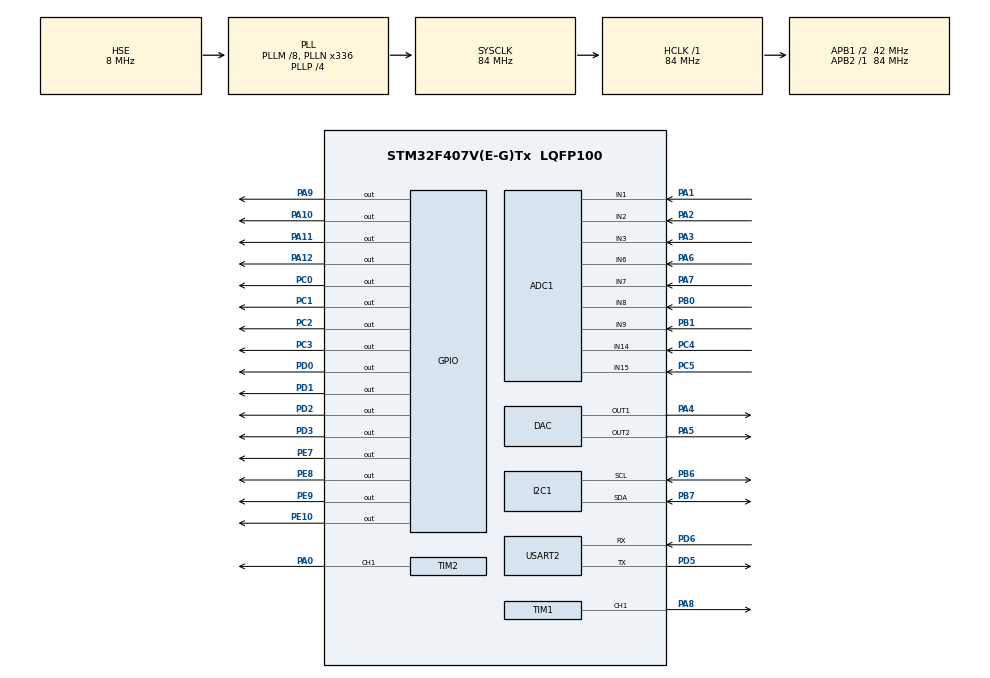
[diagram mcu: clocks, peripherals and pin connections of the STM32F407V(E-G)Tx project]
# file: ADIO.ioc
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ADC1.Channel-10\#ChannelRegularConversion=ADC_CHANNEL_2
ADC1.Channel-7\#ChannelRegularConversion=ADC_CHANNEL_1
ADC1.Channel-8\#ChannelInjectedConversion=ADC_CHANNEL_2
ADC1.Channel-9\#ChannelInjectedConversion=ADC_CHANNEL_2
ADC1.ContinuousConvMode=ENABLE
ADC1.DMAContinuousRequests=ENABLE
ADC1.EOCSelection=ADC_EOC_SEQ_CONV
ADC1.EnableAnalogWatchDog=true
ADC1.ITMode=ENABLE
ADC1.InjNumberOfConversion=2
ADC1.InjectedOffset-8\#ChannelInjectedConversion=0
ADC1.InjectedOffset-9\#ChannelInjectedConversion=0
ADC1.InjectedRank-8\#ChannelInjectedConversion=1
ADC1.InjectedRank-9\#ChannelInjectedConversion=2
ADC1.NbrOfConversion=2
ADC1.NbrOfConversionFlag=1
ADC1.Rank-10\#ChannelRegularConversion=2
ADC1.Rank-7\#ChannelRegularConversion=1
ADC1.SamplingTime-10\#ChannelRegularConversion=ADC_SAMPLETIME_480CYCLES
ADC1.SamplingTime-7\#ChannelRegularConversion=ADC_SAMPLETIME_480CYCLES
ADC1.SamplingTime-8\#ChannelInjectedConversion=ADC_SAMPLETIME_3CYCLES
ADC1.SamplingTime-9\#ChannelInjectedConversion=ADC_SAMPLETIME_3CYCLES
ADC1.WatchdogChannel=ADC_CHANNEL_1
ADC1.master=1
Dma.ADC1.0.Direction=DMA_PERIPH_TO_MEMORY
Dma.ADC1.0.FIFOMode=DMA_FIFOMODE_DISABLE
Dma.ADC1.0.Instance=DMA2_Stream0
Dma.ADC1.0.MemDataAlignment=DMA_MDATAALIGN_HALFWORD
Dma.ADC1.0.MemInc=DMA_MINC_ENABLE
Dma.ADC1.0.Mode=DMA_CIRCULAR
Dma.ADC1.0.PeriphDataAlignment=DMA_PDATAALIGN_HALFWORD
Dma.ADC1.0.PeriphInc=DMA_PINC_DISABLE
Dma.ADC1.0.Priority=DMA_PRIORITY_LOW
Dma.Request0=ADC1
Mcu.Family=STM32F4
Mcu.Name=STM32F407V(E-G)Tx
Mcu.Package=LQFP100
NVIC.ADC_IRQn=true\:0\:0\:false\:false\:true\:true\:true\:true
NVIC.DMA2_Stream0_IRQn=true\:0\:0\:false\:false\:true\:false\:true\:true
NVIC.PriorityGroup=NVIC_PRIORITYGROUP_0
NVIC.USART2_IRQn=true\:0\:0\:false\:false\:true\:true\:true\:true
PA0-WKUP.Signal=S_TIM2_CH1_ETR
PA1.Signal=ADCx_IN1
PA10.Signal=GPIO_Output
PA11.Signal=GPIO_Output
PA12.Signal=GPIO_Output
PA13.Mode=Serial_Wire
PA13.Signal=SYS_JTMS-SWDIO
PA14.Mode=Serial_Wire
PA14.Signal=SYS_JTCK-SWCLK
PA2.Signal=ADCx_IN2
PA3.Signal=ADCx_IN3
PA4.Signal=COMP_DAC1_group
PA5.Signal=COMP_DAC2_group
PA6.Signal=ADCx_IN6
PA7.Signal=ADCx_IN7
PA8.Signal=S_TIM1_CH1
PA9.Signal=GPIO_Output
PB0.Signal=ADCx_IN8
PB1.Signal=ADCx_IN9
PB6.Mode=I2C
PB6.Signal=I2C1_SCL
PB7.Mode=I2C
PB7.Signal=I2C1_SDA
PC0.Signal=GPIO_Output
PC1.Signal=GPIO_Output
PC2.Signal=GPIO_Output
PC3.Signal=GPIO_Output
PC4.Signal=ADCx_IN14
PC5.Signal=ADCx_IN15
PD0.Signal=GPIO_Output
PD1.Signal=GPIO_Output
PD2.Signal=GPIO_Output
PD3.Signal=GPIO_Output
PD5.Mode=Asynchronous
PD5.Signal=USART2_TX
PD6.Mode=Asynchronous
PD6.Signal=USART2_RX
PE10.Signal=GPIO_Output
PE7.Signal=GPIO_Output
PE8.Signal=GPIO_Output
PE9.Signal=GPIO_Output
PH0-OSC_IN.Mode=HSE-External-Oscillator
PH0-OSC_IN.Signal=RCC_OSC_IN
PH1-OSC_OUT.Mode=HSE-External-Oscillator
PH1-OSC_OUT.Signal=RCC_OSC_OUT
ProjectManager.HeapSize=0x200
ProjectManager.StackSize=0x400
ProjectManager.TargetToolchain=STM32CubeIDE
RCC.48MHZClocksFreq_Value=48000000
RCC.AHBFreq_Value=84000000
RCC.APB1CLKDivider=RCC_HCLK_DIV2
RCC.APB1Freq_Value=42000000
RCC.APB1TimFreq_Value=84000000
RCC.APB2Freq_Value=84000000
RCC.APB2TimFreq_Value=84000000
RCC.CortexFreq_Value=84000000
RCC.HCLKFreq_Value=84000000
RCC.HSE_VALUE=8000000
RCC.HSI_VALUE=16000000
RCC.LSE_VALUE=32768
RCC.PLLM=8
RCC.PLLN=336
RCC.PLLP=RCC_PLLP_DIV4
RCC.PLLQ=7
RCC.PLLSourceVirtual=RCC_PLLSOURCE_HSE
RCC.SYSCLKFreq_VALUE=84000000
RCC.SYSCLKSource=RCC_SYSCLKSOURCE_PLLCLK
RCC.VCOOutputFreq_Value=336000000
SH.ADCx_IN1.0=ADC1_IN1,IN1
SH.ADCx_IN14.0=ADC1_IN14,IN14
SH.ADCx_IN15.0=ADC1_IN15,IN15
SH.ADCx_IN2.0=ADC1_IN2,IN2
SH.ADCx_IN3.0=ADC1_IN3,IN3
SH.ADCx_IN6.0=ADC1_IN6,IN6
SH.ADCx_IN7.0=ADC1_IN7,IN7
SH.ADCx_IN8.0=ADC1_IN8,IN8
SH.ADCx_IN9.0=ADC1_IN9,IN9
SH.COMP_DAC1_group.0=DAC_OUT1,DAC_OUT1
SH.COMP_DAC2_group.0=DAC_OUT2,DAC_OUT2
SH.S_TIM1_CH1.0=TIM1_CH1,PWM Generation1 CH1
SH.S_TIM2_CH1_ETR.0=TIM2_CH1,PWM Generation1 CH1
TIM1.Channel-PWM\ Generation1\ CH1=TIM_CHANNEL_1
TIM1.Period=199
TIM1.Prescaler=69
TIM2.Channel-PWM\ Generation1\ CH1=TIM_CHANNEL_1
TIM2.Period=199
TIM2.Prescaler=69
USART2.VirtualMode=VM_ASYNC
VP_TIM1_VS_ClockSourceINT.Mode=Internal
VP_TIM2_VS_ClockSourceINT.Mode=Internal
board=STM32F407G-DISC1

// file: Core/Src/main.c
/* USER CODE BEGIN Header */
/**
  ******************************************************************************
  * @file           : main.c
  * @brief          : Main program body
  ******************************************************************************
  * @attention
  *
  * Copyright (c) 2025 STMicroelectronics.
  * All rights reserved.
  *
  * This software is licensed under terms that can be found in the LICENSE file
  * in the root directory of this software component.
  * If no LICENSE file comes with this software, it is provided AS-IS.
  *
  ******************************************************************************
  */
/* USER CODE END Header */
#include "main.h"

/* USER CODE BEGIN Includes */
#include <stdio.h>
#include "functions.h"
#include <string.h>
#include "uart_handler.h"
#include <math.h>
#include "i2ccomm.h"

/* USER CODE END Includes */

ADC_HandleTypeDef hadc1;
DMA_HandleTypeDef hdma_adc1;

DAC_HandleTypeDef hdac;

I2C_HandleTypeDef hi2c1;

TIM_HandleTypeDef htim1;
TIM_HandleTypeDef htim2;

UART_HandleTypeDef huart2;

/* USER CODE BEGIN PV */

// This is the one and only DEFINITION of the variable.
// It tells the compiler to allocate memory for it.
uint16_t volatile ADC_IN[9];
//float Max_PCurrent = 0 ;
// Application state variable
volatile uint8_t g_test_is_running = 1;

// Application data
#define NUM_PARAMETERS 24
float parameters[NUM_PARAMETERS] = {0.0f};

float Max_PCurrent_M1 = 0.0f;
//float Max_NCurrent_M1 = 0.0f;
float Voltage_M1      = 0.0f;
//float Max_PoCurrent_M1 = 0.0f;

float Max_PCurrent_M2 = 0.0f;
//float Max_NCurrent_M2 = 0.0f;
float Voltage_M2      = 0.0f;
//float Max_PoCurrent_M2 = 0.0f;

#define DATA_LOG_LENGTH 32

/* USER CODE END PV */

void SystemClock_Config(void);
static void MX_GPIO_Init(void);
static void MX_DMA_Init(void);
static void MX_ADC1_Init(void);
static void MX_TIM2_Init(void);
static void MX_USART2_UART_Init(void);
static void MX_I2C1_Init(void);
static void MX_TIM1_Init(void);
static void MX_DAC_Init(void);

int main(void)
{

  /* MCU Configuration--------------------------------------------------------*/

  /* Reset of all peripherals, Initializes the Flash interface and the Systick. */
  HAL_Init();

  /* Configure the system clock */
  SystemClock_Config();

  /* Initialize all configured peripherals */
  MX_GPIO_Init();
  MX_DMA_Init();
  MX_ADC1_Init();
  MX_TIM2_Init();
  MX_USART2_UART_Init();
  MX_I2C1_Init();
  MX_TIM1_Init();
  MX_DAC_Init();
  /* USER CODE BEGIN 2 */
  uart_handler_init(&huart2); // When regenerated this line of Code would always reset need to add
  HAL_ADC_Start_DMA(&hadc1, (uint32_t*)&ADC_IN, 9);
  HAL_TIM_PWM_Start(&htim2,TIM_CHANNEL_1);
  HAL_TIM_PWM_Start(&htim1,TIM_CHANNEL_1);
  I2C_Scan(&hi2c1);
  HAL_Delay(1000);

  if (I2C_Init(&hi2c1,P15) != HAL_OK)
  {
	  printf("Failed to Initialize the Motor1N \n");
  }
  printf("Initlization Successful of Motor1N \n");
  HAL_Delay(100);
//  if (I2C_Init(&hi2c1,Motor1P) != HAL_OK)
//  {
//	  printf("Failed to Initalize the Motor1P \n");
//  }
//  printf("Initlization Successfull of Motor1P \n");
//  HAL_Delay(100);
  if (I2C_Init(&hi2c1,N15) != HAL_OK)
  {
	  printf("Failed to Initalize the Motor2N \n");
  }
  printf("Initlization Successfull of Motor2N \n");
  HAL_Delay(100);
//  if (I2C_Init(&hi2c1,Motor2P) != HAL_OK)
//  {
//	  printf("Failed to Initalize the Motor2P \n");
//  }
//  printf("Initlization Successfull of Motor2P \n");
//  HAL_Delay(100);
  if (I2C_Init(&hi2c1,Pot1) != HAL_OK)
  {
	  printf("Failed to Initalize the Pot1 \n");
  }
  printf("Initlization Successfull of Pot1 \n");
  HAL_Delay(100);
  if (I2C_Init(&hi2c1,Pot2) != HAL_OK)
  {
	  printf("Failed to Initalize the Pot2 \n");
  }
  printf("Initlization Successfull of Pot2 \n");
  HAL_Delay(100);

  /* USER CODE END 2 */

  /* Infinite loop */
  while (1)
  {

    /* USER CODE BEGIN 3 */

	  printf("Testing the USB Communication \r\n");

//	  ModeControlADIOBoard(OFF);
//	  printf("IN MANUAL MODE NOW\r\n");
//
	  set_relay_combination(0);
	  printf("IN Combination 0 now \r\n");

	  set_relay_combination(1);
	  printf("In Combination 1 now \r\n");

	  set_relay_combination(2);
	  printf("IN Combination 2 now\r\n");

	  set_relay_combination(3);
	  printf("IN Combination 3 now\r\n");

	  set_relay_combination(4);
	  printf("IN Combination 4 now\r\n");

	  set_relay_combination(5);
	  printf("IN Combination 5 now\r\n");

	  set_relay_combination(6);
	  printf("IN Combination 6 now\r\n");

	  set_relay_combination(7);
	  printf("IN Combination 7 now\r\n");

	    //--------------------------------------------------------------------
	    // [SECTION 1] COMMAND HANDLING
	    //--------------------------------------------------------------------
	    // This section checks if a complete command has been received via UART.
	    // If a command is ready, it is processed to change the system's state.
//	    //--------------------------------------------------------------------
//	    if (uart_command_is_ready()) {
//	        // Retrieve the received command string from the UART buffer.
//	        const char* command = (const char*)uart_get_command_buffer();
//
//	        // Print a debug message indicating a command has been received.
//	        printf("DBG_MAIN: Flag detected.\r\n");
//	        fflush(stdout); // Force the print buffer to send immediately.
//
//	        // --- Compare the received command against known commands ---
//
//	        if (strcmp(command, "CMD:PERFORM_TEST") == 0) {
//	            printf("DBG_MAIN: Command for Start MATCHED!\r\n");
//	            fflush(stdout);
//	            // Set state to 0, which triggers the test sequence to run once.
//	            g_test_is_running = 0;
//	        }
//	        else if (strcmp(command, "CMD:STOP_TEST") == 0) {
//	            printf("DBG_MAIN: Command for Stop MATCHED!\r\n");
//	            fflush(stdout);
//	            // Set state to 1, which is the 'Idle' or 'Stopped' state.
//	            g_test_is_running = 1;
//	        }
//	        else if (strcmp(command, "CMD:CORNER1") == 0) {
//	            printf("DBG_MAIN: Command for Corner 1 (min, min) received.\r\n"); // Corrected log message
//	            fflush(stdout);
//	            // Set state to 2 to move motors to the MIN/MIN position.
//	            g_test_is_running = 2;
//	        }
//	        else if (strcmp(command, "CMD:CORNER2") == 0) {
//	            printf("DBG_MAIN: Command for Corner 2 (min, max) received.\r\n"); // Corrected log message
//	            fflush(stdout);
//	            // Set state to 3 to move motors to the MIN/MAX position.
//	            g_test_is_running = 3;
//	        }
//	        else if (strcmp(command, "CMD:CORNER3") == 0) {
//	            printf("DBG_MAIN: Command for Corner 3 (max, min) received.\r\n"); // Corrected log message
//	            fflush(stdout);
//	            // Set state to 4 to move motors to the MAX/MIN position.
//	            g_test_is_running = 4;
//	        }
//	        else if (strcmp(command, "CMD:CORNER4") == 0) {
//	            printf("DBG_MAIN: Command for Corner 4 (max, max) received.\r\n"); // Corrected log message
//	            fflush(stdout);
//	            // Set state to 5 to move motors to the MAX/MAX position.
//	            g_test_is_running = 5;
//	        }
//	        else {
//	            // If the command is not recognized, print an error message.
//	            printf("DBG_MAIN: Command MISMATCH! Received: [%s]\r\n", command);
//	            fflush(stdout);
//	        }
//
//	        // IMPORTANT: Reset the UART handler so it's ready to receive the next command.
//	        uart_reset_for_next_command();
//	    }
//      // ===================================================================
//      // 2. STATE-BASED ACTION SECTION
//      // ===================================================================
//      if (g_test_is_running == 0) {
//    	  memset(parameters, 0, sizeof(parameters));
//    	    // --- STATE: TEST ACTIVE ---
//    	    // This block will run the full test sequence once per "START" command.
//
//    	    // 1. Perform the real hardware tests and store the results.
//    	    // Note: We cast the uint32_t time results to float to match the array type.
//
//    	    // --- Time Tests ---
//
//    	  parameters[PARAM_X1_MAX_POS_V] = FindMaxPositionVoltageMotor1() ;
//    	  parameters[PARAM_X2_MIN_POS_V] = FindMinPositionVoltageMotor2() ;
//     	  parameters[PARAM_X1_MIN_POS_V] = FindMinPositionVoltageMotor1() ;
//    	  parameters[PARAM_X2_MAX_POS_V] = FindMaxPositionVoltageMotor2() ;
//    	  Update_Home_Positions();
//    	  parameters[PARAM_X1_TIME_MIN_MAX] = (float)ADC_MIN_TO_ADC_MAX_M1()/ 1000.0f;
//    	  parameters[PARAM_X1_TIME_MAX_MIN] = (float)ADC_MAX_TO_ADC_MIN_M1()/ 1000.0f;
//    	  parameters[PARAM_X2_TIME_MIN_MAX] = (float)ADC_MIN_TO_ADC_MAX_M2()/ 1000.0f;
//    	  parameters[PARAM_X2_TIME_MAX_MIN] = (float)ADC_MAX_TO_ADC_MIN_M2()/ 1000.0f;
//    	    //----Current Test for Motors---
//    	    // When I call the Above function it would also populate all of the parameters related to Current of Motors
//    	    //---Current Test for Motors finished
//    	    //---Current Test for Potentiometers--
//
//
//
//
//
//    	    // --- Smoothness Tests ---
//    	    parameters[PARAM_X1_STEP_MIN_MAX] = Get_M1_Min_to_Max_Smoothness();
//    	    parameters[PARAM_X1_STEP_MAX_MIN] = Get_M1_Max_to_Min_Smoothness();
//    	    parameters[PARAM_X2_STEP_MIN_MAX] = Get_M2_Min_to_Max_Smoothness();
//    	    parameters[PARAM_X2_STEP_MAX_MIN] = Get_M2_Max_to_Min_Smoothness();
//
//
//    	    // 2. Fill in all other placeholder parameters with a constant value (0.0).
//    	    // This covers parameters for current and voltage which are not yet implemented.
//    	    // Loop from index 4 to 19.
////    	    for (int i = 4; i < 20; i++) {
////    	        parameters[i] = 0.0f;
////    	    }
//
//
//    	    // 3. Send the complete data packet to the Python GUI.
//    	    printf("DATA,");
//    	    for (int i = 0; i < NUM_PARAMETERS; i++) {
//    	        // We multiply by 1000.0 to send floats as integers with 3 decimal places. We will divide this by 1000 on the GUI Side to get the Real result
//    	        printf("%ld", (int32_t)(parameters[i] * 1000.0f));
//    	        if (i < NUM_PARAMETERS - 1) {
//    	            printf(",");
//    	        }
//    	    }
//    	    printf("\n");
//    	    fflush(stdout);
//
//    	    // 4. IMPORTANT: Stop the test from running again until the next command.
//    	    // If you remove this line, the test will run over and over.
//    	    g_test_is_running = 1;
//      } else if(g_test_is_running == 2){
//    	  printf("Going to the First Corner i.e. min-min \r\n");
//    	  moveMotor1ToADCValue(ADC_POS_MIN_M1, MOVE_TOLERANCE_ADC);
//    	  moveMotor2ToADCValue(ADC_POS_MIN_M2, MOVE_TOLERANCE_ADC);
//    	  fflush(stdout);
//    	  g_test_is_running = 1;
//
//      } else if(g_test_is_running == 3){
//    	  printf("Going to the Second Corner i.e. min-max \r\n");
//    	  moveMotor1ToADCValue(ADC_POS_MIN_M1, MOVE_TOLERANCE_ADC);
//    	  moveMotor2ToADCValue(ADC_POS_MAX_M2, MOVE_TOLERANCE_ADC);
//    	  fflush(stdout);
//    	  g_test_is_running = 1;
//
//      } else if(g_test_is_running == 4){
//    	  printf("Going to the Third Corner i.e. max-min \r\n");
//    	  moveMotor1ToADCValue(ADC_POS_MAX_M1, MOVE_TOLERANCE_ADC);
//    	  moveMotor2ToADCValue(ADC_POS_MIN_M2, MOVE_TOLERANCE_ADC);
//    	  fflush(stdout);
//    	  g_test_is_running = 1;
//
//      } else if(g_test_is_running == 5){
//    	  printf("Going to the Fourth Corner i.e. min-min \r\n");
//    	  moveMotor1ToADCValue(ADC_POS_MAX_M1, MOVE_TOLERANCE_ADC);
//    	  HAL_Delay(2000);
//    	  moveMotor2ToADCValue(ADC_POS_MAX_M2, MOVE_TOLERANCE_ADC);
//    	  fflush(stdout);
//    	  g_test_is_running = 1;
//      }
//      else {
//          // --- STATE: IDLE ---
//          printf("In Idle State Right Now test is not running \r\n");
//          fflush(stdout); // It's good practice to flush after printing
//      }
//
//          HAL_Delay(500);

    }
  /* USER CODE END 3 */
}

void SystemClock_Config(void)
{
  RCC_OscInitTypeDef RCC_OscInitStruct = {0};
  RCC_ClkInitTypeDef RCC_ClkInitStruct = {0};

  /** Configure the main internal regulator output voltage
  */
  __HAL_RCC_PWR_CLK_ENABLE();
  __HAL_PWR_VOLTAGESCALING_CONFIG(PWR_REGULATOR_VOLTAGE_SCALE1);

  /** Initializes the RCC Oscillators according to the specified parameters
  * in the RCC_OscInitTypeDef structure.
  */
  RCC_OscInitStruct.OscillatorType = RCC_OSCILLATORTYPE_HSE;
  RCC_OscInitStruct.HSEState = RCC_HSE_ON;
  RCC_OscInitStruct.PLL.PLLState = RCC_PLL_ON;
  RCC_OscInitStruct.PLL.PLLSource = RCC_PLLSOURCE_HSE;
  RCC_OscInitStruct.PLL.PLLM = 8;
  RCC_OscInitStruct.PLL.PLLN = 336;
  RCC_OscInitStruct.PLL.PLLP = RCC_PLLP_DIV4;
  RCC_OscInitStruct.PLL.PLLQ = 7;
  if (HAL_RCC_OscConfig(&RCC_OscInitStruct) != HAL_OK)
  {
    Error_Handler();
  }

  /** Initializes the CPU, AHB and APB buses clocks
  */
  RCC_ClkInitStruct.ClockType = RCC_CLOCKTYPE_HCLK|RCC_CLOCKTYPE_SYSCLK
                              |RCC_CLOCKTYPE_PCLK1|RCC_CLOCKTYPE_PCLK2;
  RCC_ClkInitStruct.SYSCLKSource = RCC_SYSCLKSOURCE_PLLCLK;
  RCC_ClkInitStruct.AHBCLKDivider = RCC_SYSCLK_DIV1;
  RCC_ClkInitStruct.APB1CLKDivider = RCC_HCLK_DIV2;
  RCC_ClkInitStruct.APB2CLKDivider = RCC_HCLK_DIV1;

  if (HAL_RCC_ClockConfig(&RCC_ClkInitStruct, FLASH_LATENCY_2) != HAL_OK)
  {
    Error_Handler();
  }
}

static void MX_ADC1_Init(void)
{

  ADC_AnalogWDGConfTypeDef AnalogWDGConfig = {0};
  ADC_ChannelConfTypeDef sConfig = {0};
  ADC_InjectionConfTypeDef sConfigInjected = {0};

  /** Configure the global features of the ADC (Clock, Resolution, Data Alignment and number of conversion)
  */
  hadc1.Instance = ADC1;
  hadc1.Init.ClockPrescaler = ADC_CLOCK_SYNC_PCLK_DIV4;
  hadc1.Init.Resolution = ADC_RESOLUTION_12B;
  hadc1.Init.ScanConvMode = ENABLE;
  hadc1.Init.ContinuousConvMode = ENABLE;
  hadc1.Init.DiscontinuousConvMode = DISABLE;
  hadc1.Init.ExternalTrigConvEdge = ADC_EXTERNALTRIGCONVEDGE_NONE;
  hadc1.Init.ExternalTrigConv = ADC_SOFTWARE_START;
  hadc1.Init.DataAlign = ADC_DATAALIGN_RIGHT;
  hadc1.Init.NbrOfConversion = 2;
  hadc1.Init.DMAContinuousRequests = ENABLE;
  hadc1.Init.EOCSelection = ADC_EOC_SEQ_CONV;
  if (HAL_ADC_Init(&hadc1) != HAL_OK)
  {
    Error_Handler();
  }

  /** Configure the analog watchdog
  */
  AnalogWDGConfig.WatchdogMode = ADC_ANALOGWATCHDOG_SINGLE_REG;
  AnalogWDGConfig.HighThreshold = 0;
  AnalogWDGConfig.LowThreshold = 0;
  AnalogWDGConfig.Channel = ADC_CHANNEL_1;
  AnalogWDGConfig.ITMode = ENABLE;
  if (HAL_ADC_AnalogWDGConfig(&hadc1, &AnalogWDGConfig) != HAL_OK)
  {
    Error_Handler();
  }

  /** Configure for the selected ADC regular channel its corresponding rank in the sequencer and its sample time.
  */
  sConfig.Channel = ADC_CHANNEL_1;
  sConfig.Rank = 1;
  sConfig.SamplingTime = ADC_SAMPLETIME_480CYCLES;
  if (HAL_ADC_ConfigChannel(&hadc1, &sConfig) != HAL_OK)
  {
    Error_Handler();
  }

  /** Configure for the selected ADC regular channel its corresponding rank in the sequencer and its sample time.
  */
  sConfig.Channel = ADC_CHANNEL_2;
  sConfig.Rank = 2;
  if (HAL_ADC_ConfigChannel(&hadc1, &sConfig) != HAL_OK)
  {
    Error_Handler();
  }

  /** Configures for the selected ADC injected channel its corresponding rank in the sequencer and its sample time
  */
  sConfigInjected.InjectedChannel = ADC_CHANNEL_2;
  sConfigInjected.InjectedRank = 1;
  sConfigInjected.InjectedNbrOfConversion = 2;
  sConfigInjected.InjectedSamplingTime = ADC_SAMPLETIME_3CYCLES;
  sConfigInjected.ExternalTrigInjecConvEdge = ADC_EXTERNALTRIGINJECCONVEDGE_NONE;
  sConfigInjected.ExternalTrigInjecConv = ADC_INJECTED_SOFTWARE_START;
  sConfigInjected.AutoInjectedConv = DISABLE;
  sConfigInjected.InjectedDiscontinuousConvMode = DISABLE;
  sConfigInjected.InjectedOffset = 0;
  if (HAL_ADCEx_InjectedConfigChannel(&hadc1, &sConfigInjected) != HAL_OK)
  {
    Error_Handler();
  }

  /** Configures for the selected ADC injected channel its corresponding rank in the sequencer and its sample time
  */
  sConfigInjected.InjectedRank = 2;
  if (HAL_ADCEx_InjectedConfigChannel(&hadc1, &sConfigInjected) != HAL_OK)
  {
    Error_Handler();
  }

}

static void MX_DAC_Init(void)
{

  DAC_ChannelConfTypeDef sConfig = {0};

  /** DAC Initialization
  */
  hdac.Instance = DAC;
  if (HAL_DAC_Init(&hdac) != HAL_OK)
  {
    Error_Handler();
  }

  /** DAC channel OUT1 config
  */
  sConfig.DAC_Trigger = DAC_TRIGGER_NONE;
  sConfig.DAC_OutputBuffer = DAC_OUTPUTBUFFER_ENABLE;
  if (HAL_DAC_ConfigChannel(&hdac, &sConfig, DAC_CHANNEL_1) != HAL_OK)
  {
    Error_Handler();
  }

  /** DAC channel OUT2 config
  */
  if (HAL_DAC_ConfigChannel(&hdac, &sConfig, DAC_CHANNEL_2) != HAL_OK)
  {
    Error_Handler();
  }

}

static void MX_I2C1_Init(void)
{

  hi2c1.Instance = I2C1;
  hi2c1.Init.ClockSpeed = 100000;
  hi2c1.Init.DutyCycle = I2C_DUTYCYCLE_2;
  hi2c1.Init.OwnAddress1 = 0;
  hi2c1.Init.AddressingMode = I2C_ADDRESSINGMODE_7BIT;
  hi2c1.Init.DualAddressMode = I2C_DUALADDRESS_DISABLE;
  hi2c1.Init.OwnAddress2 = 0;
  hi2c1.Init.GeneralCallMode = I2C_GENERALCALL_DISABLE;
  hi2c1.Init.NoStretchMode = I2C_NOSTRETCH_DISABLE;
  if (HAL_I2C_Init(&hi2c1) != HAL_OK)
  {
    Error_Handler();
  }

}

static void MX_TIM1_Init(void)
{

  TIM_ClockConfigTypeDef sClockSourceConfig = {0};
  TIM_MasterConfigTypeDef sMasterConfig = {0};
  TIM_OC_InitTypeDef sConfigOC = {0};
  TIM_BreakDeadTimeConfigTypeDef sBreakDeadTimeConfig = {0};

  htim1.Instance = TIM1;
  htim1.Init.Prescaler = 69;
  htim1.Init.CounterMode = TIM_COUNTERMODE_UP;
  htim1.Init.Period = 199;
  htim1.Init.ClockDivision = TIM_CLOCKDIVISION_DIV1;
  htim1.Init.RepetitionCounter = 0;
  htim1.Init.AutoReloadPreload = TIM_AUTORELOAD_PRELOAD_DISABLE;
  if (HAL_TIM_Base_Init(&htim1) != HAL_OK)
  {
    Error_Handler();
  }
  sClockSourceConfig.ClockSource = TIM_CLOCKSOURCE_INTERNAL;
  if (HAL_TIM_ConfigClockSource(&htim1, &sClockSourceConfig) != HAL_OK)
  {
    Error_Handler();
  }
  if (HAL_TIM_PWM_Init(&htim1) != HAL_OK)
  {
    Error_Handler();
  }
  sMasterConfig.MasterOutputTrigger = TIM_TRGO_RESET;
  sMasterConfig.MasterSlaveMode = TIM_MASTERSLAVEMODE_DISABLE;
  if (HAL_TIMEx_MasterConfigSynchronization(&htim1, &sMasterConfig) != HAL_OK)
  {
    Error_Handler();
  }
  sConfigOC.OCMode = TIM_OCMODE_PWM1;
  sConfigOC.Pulse = 0;
  sConfigOC.OCPolarity = TIM_OCPOLARITY_HIGH;
  sConfigOC.OCNPolarity = TIM_OCNPOLARITY_HIGH;
  sConfigOC.OCFastMode = TIM_OCFAST_DISABLE;
  sConfigOC.OCIdleState = TIM_OCIDLESTATE_RESET;
  sConfigOC.OCNIdleState = TIM_OCNIDLESTATE_RESET;
  if (HAL_TIM_PWM_ConfigChannel(&htim1, &sConfigOC, TIM_CHANNEL_1) != HAL_OK)
  {
    Error_Handler();
  }
  sBreakDeadTimeConfig.OffStateRunMode = TIM_OSSR_DISABLE;
  sBreakDeadTimeConfig.OffStateIDLEMode = TIM_OSSI_DISABLE;
  sBreakDeadTimeConfig.LockLevel = TIM_LOCKLEVEL_OFF;
  sBreakDeadTimeConfig.DeadTime = 0;
  sBreakDeadTimeConfig.BreakState = TIM_BREAK_DISABLE;
  sBreakDeadTimeConfig.BreakPolarity = TIM_BREAKPOLARITY_HIGH;
  sBreakDeadTimeConfig.AutomaticOutput = TIM_AUTOMATICOUTPUT_DISABLE;
  if (HAL_TIMEx_ConfigBreakDeadTime(&htim1, &sBreakDeadTimeConfig) != HAL_OK)
  {
    Error_Handler();
  }
  HAL_TIM_MspPostInit(&htim1);

}

static void MX_TIM2_Init(void)
{

  TIM_ClockConfigTypeDef sClockSourceConfig = {0};
  TIM_MasterConfigTypeDef sMasterConfig = {0};
  TIM_OC_InitTypeDef sConfigOC = {0};

  htim2.Instance = TIM2;
  htim2.Init.Prescaler = 69;
  htim2.Init.CounterMode = TIM_COUNTERMODE_UP;
  htim2.Init.Period = 199;
  htim2.Init.ClockDivision = TIM_CLOCKDIVISION_DIV1;
  htim2.Init.AutoReloadPreload = TIM_AUTORELOAD_PRELOAD_DISABLE;
  if (HAL_TIM_Base_Init(&htim2) != HAL_OK)
  {
    Error_Handler();
  }
  sClockSourceConfig.ClockSource = TIM_CLOCKSOURCE_INTERNAL;
  if (HAL_TIM_ConfigClockSource(&htim2, &sClockSourceConfig) != HAL_OK)
  {
    Error_Handler();
  }
  if (HAL_TIM_PWM_Init(&htim2) != HAL_OK)
  {
    Error_Handler();
  }
  sMasterConfig.MasterOutputTrigger = TIM_TRGO_RESET;
  sMasterConfig.MasterSlaveMode = TIM_MASTERSLAVEMODE_DISABLE;
  if (HAL_TIMEx_MasterConfigSynchronization(&htim2, &sMasterConfig) != HAL_OK)
  {
    Error_Handler();
  }
  sConfigOC.OCMode = TIM_OCMODE_PWM1;
  sConfigOC.Pulse = 0;
  sConfigOC.OCPolarity = TIM_OCPOLARITY_HIGH;
  sConfigOC.OCFastMode = TIM_OCFAST_DISABLE;
  if (HAL_TIM_PWM_ConfigChannel(&htim2, &sConfigOC, TIM_CHANNEL_1) != HAL_OK)
  {
    Error_Handler();
  }
  HAL_TIM_MspPostInit(&htim2);

}

static void MX_USART2_UART_Init(void)
{

  huart2.Instance = USART2;
  huart2.Init.BaudRate = 115200;
  huart2.Init.WordLength = UART_WORDLENGTH_8B;
  huart2.Init.StopBits = UART_STOPBITS_1;
  huart2.Init.Parity = UART_PARITY_NONE;
  huart2.Init.Mode = UART_MODE_TX_RX;
  huart2.Init.HwFlowCtl = UART_HWCONTROL_NONE;
  huart2.Init.OverSampling = UART_OVERSAMPLING_16;
  if (HAL_UART_Init(&huart2) != HAL_OK)
  {
    Error_Handler();
  }

}

static void MX_DMA_Init(void)
{

  /* DMA controller clock enable */
  __HAL_RCC_DMA2_CLK_ENABLE();

  /* DMA interrupt init */
  /* DMA2_Stream0_IRQn interrupt configuration */
  HAL_NVIC_SetPriority(DMA2_Stream0_IRQn, 0, 0);
  HAL_NVIC_EnableIRQ(DMA2_Stream0_IRQn);

}

static void MX_GPIO_Init(void)
{
  GPIO_InitTypeDef GPIO_InitStruct = {0};

  /* GPIO Ports Clock Enable */
  __HAL_RCC_GPIOH_CLK_ENABLE();
  __HAL_RCC_GPIOC_CLK_ENABLE();
  __HAL_RCC_GPIOA_CLK_ENABLE();
  __HAL_RCC_GPIOB_CLK_ENABLE();
  __HAL_RCC_GPIOE_CLK_ENABLE();
  __HAL_RCC_GPIOD_CLK_ENABLE();

  /*Configure GPIO pin Output Level */
  HAL_GPIO_WritePin(GPIOC, GPIO_PIN_0|GPIO_PIN_1|GPIO_PIN_2|GPIO_PIN_3, GPIO_PIN_RESET);

  /*Configure GPIO pin Output Level */
  HAL_GPIO_WritePin(GPIOE, GPIO_PIN_7|GPIO_PIN_8|GPIO_PIN_9|GPIO_PIN_10, GPIO_PIN_RESET);

  /*Configure GPIO pin Output Level */
  HAL_GPIO_WritePin(GPIOA, GPIO_PIN_9|GPIO_PIN_10|GPIO_PIN_11|GPIO_PIN_12, GPIO_PIN_RESET);

  /*Configure GPIO pin Output Level */
  HAL_GPIO_WritePin(GPIOD, GPIO_PIN_0|GPIO_PIN_1|GPIO_PIN_2|GPIO_PIN_3, GPIO_PIN_RESET);

  /*Configure GPIO pins : PC0 PC1 PC2 PC3 */
  GPIO_InitStruct.Pin = GPIO_PIN_0|GPIO_PIN_1|GPIO_PIN_2|GPIO_PIN_3;
  GPIO_InitStruct.Mode = GPIO_MODE_OUTPUT_PP;
  GPIO_InitStruct.Pull = GPIO_NOPULL;
  GPIO_InitStruct.Speed = GPIO_SPEED_FREQ_LOW;
  HAL_GPIO_Init(GPIOC, &GPIO_InitStruct);

  /*Configure GPIO pins : PE7 PE8 PE9 PE10 */
  GPIO_InitStruct.Pin = GPIO_PIN_7|GPIO_PIN_8|GPIO_PIN_9|GPIO_PIN_10;
  GPIO_InitStruct.Mode = GPIO_MODE_OUTPUT_PP;
  GPIO_InitStruct.Pull = GPIO_NOPULL;
  GPIO_InitStruct.Speed = GPIO_SPEED_FREQ_LOW;
  HAL_GPIO_Init(GPIOE, &GPIO_InitStruct);

  /*Configure GPIO pins : PA9 PA10 PA11 PA12 */
  GPIO_InitStruct.Pin = GPIO_PIN_9|GPIO_PIN_10|GPIO_PIN_11|GPIO_PIN_12;
  GPIO_InitStruct.Mode = GPIO_MODE_OUTPUT_PP;
  GPIO_InitStruct.Pull = GPIO_NOPULL;
  GPIO_InitStruct.Speed = GPIO_SPEED_FREQ_LOW;
  HAL_GPIO_Init(GPIOA, &GPIO_InitStruct);

  /*Configure GPIO pins : PD0 PD1 PD2 PD3 */
  GPIO_InitStruct.Pin = GPIO_PIN_0|GPIO_PIN_1|GPIO_PIN_2|GPIO_PIN_3;
  GPIO_InitStruct.Mode = GPIO_MODE_OUTPUT_PP;
  GPIO_InitStruct.Pull = GPIO_NOPULL;
  GPIO_InitStruct.Speed = GPIO_SPEED_FREQ_LOW;
  HAL_GPIO_Init(GPIOD, &GPIO_InitStruct);

}

void Error_Handler(void)
{
  __disable_irq();
  while (1)
  {
  }
}
